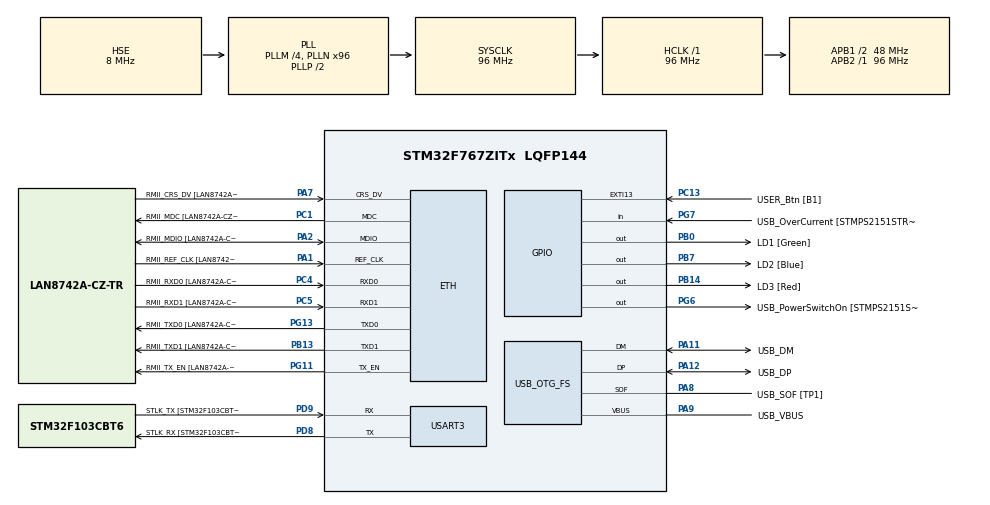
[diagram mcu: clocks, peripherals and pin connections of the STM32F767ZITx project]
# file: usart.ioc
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CORTEX_M7.default_mode_Activation=1
ETH.MediaInterface=HAL_ETH_RMII_MODE
ETH.PHY_Name=LAN8742A_PHY_ADDRESS
ETH.PHY_Value=0
ETH.PhyAddress=0
Mcu.Family=STM32F7
Mcu.Name=STM32F767ZITx
Mcu.Package=LQFP144
NVIC.PriorityGroup=NVIC_PRIORITYGROUP_4
NVIC.USART3_IRQn=true\:0\:0\:false\:false\:true\:true\:true\:true
PA1.GPIO_Label=RMII_REF_CLK [LAN8742A-CZ-TR_REFCLK0]
PA1.Mode=RMII
PA1.Signal=ETH_REF_CLK
PA10.GPIO_Label=USB_ID
PA10.Signal=USB_OTG_FS_ID
PA11.GPIO_Label=USB_DM
PA11.Mode=Device_Only
PA11.Signal=USB_OTG_FS_DM
PA12.GPIO_Label=USB_DP
PA12.Mode=Device_Only
PA12.Signal=USB_OTG_FS_DP
PA13.GPIO_Label=TMS
PA13.Mode=Serial_Wire
PA13.Signal=SYS_JTMS-SWDIO
PA14.GPIO_Label=TCK
PA14.Mode=Serial_Wire
PA14.Signal=SYS_JTCK-SWCLK
PA2.GPIO_Label=RMII_MDIO [LAN8742A-CZ-TR_MDIO]
PA2.Mode=RMII
PA2.Signal=ETH_MDIO
PA7.GPIO_Label=RMII_CRS_DV [LAN8742A-CZ-TR_CRS_DV]
PA7.Mode=RMII
PA7.Signal=ETH_CRS_DV
PA8.GPIO_Label=USB_SOF [TP1]
PA8.Mode=Activate_SOF_FS
PA8.Signal=USB_OTG_FS_SOF
PA9.GPIO_Label=USB_VBUS
PA9.Mode=Activate_VBUS
PA9.Signal=USB_OTG_FS_VBUS
PB0.GPIO_Label=LD1 [Green]
PB0.Signal=GPIO_Output
PB13.GPIO_Label=RMII_TXD1 [LAN8742A-CZ-TR_TXD1]
PB13.Mode=RMII
PB13.Signal=ETH_TXD1
PB14.GPIO_Label=LD3 [Red]
PB14.Signal=GPIO_Output
PB3.GPIO_Label=SWO
PB3.Signal=SYS_JTDO-SWO
PB7.GPIO_Label=LD2 [Blue]
PB7.Signal=GPIO_Output
PC1.GPIO_Label=RMII_MDC [LAN8742A-CZ-TR_MDC]
PC1.Mode=RMII
PC1.Signal=ETH_MDC
PC13.GPIO_Label=USER_Btn [B1]
PC13.Signal=GPXTI13
PC14/OSC32_IN.Mode=LSE-External-Oscillator
PC14/OSC32_IN.Signal=RCC_OSC32_IN
PC15/OSC32_OUT.Mode=LSE-External-Oscillator
PC15/OSC32_OUT.Signal=RCC_OSC32_OUT
PC4.GPIO_Label=RMII_RXD0 [LAN8742A-CZ-TR_RXD0]
PC4.Mode=RMII
PC4.Signal=ETH_RXD0
PC5.GPIO_Label=RMII_RXD1 [LAN8742A-CZ-TR_RXD1]
PC5.Mode=RMII
PC5.Signal=ETH_RXD1
PD8.GPIO_Label=STLK_RX [STM32F103CBT6_PA3]
PD8.Mode=Asynchronous
PD8.Signal=USART3_TX
PD9.GPIO_Label=STLK_TX [STM32F103CBT6_PA2]
PD9.Mode=Asynchronous
PD9.Signal=USART3_RX
PG11.GPIO_Label=RMII_TX_EN [LAN8742A-CZ-TR_TXEN]
PG11.Mode=RMII
PG11.Signal=ETH_TX_EN
PG13.GPIO_Label=RMII_TXD0 [LAN8742A-CZ-TR_TXD0]
PG13.Mode=RMII
PG13.Signal=ETH_TXD0
PG6.GPIO_Label=USB_PowerSwitchOn [STMPS2151STR_EN]
PG6.Signal=GPIO_Output
PG7.GPIO_Label=USB_OverCurrent [STMPS2151STR_FAULT]
PG7.Signal=GPIO_Input
PH0/OSC_IN.GPIO_Label=MCO [STM32F103CBT6_PA8]
PH0/OSC_IN.Mode=HSE-External-Clock-Source
PH0/OSC_IN.Signal=RCC_OSC_IN
PH1/OSC_OUT.Mode=HSE-External-Clock-Source
PH1/OSC_OUT.Signal=RCC_OSC_OUT
ProjectManager.HeapSize=0x200
ProjectManager.StackSize=0x400
ProjectManager.TargetToolchain=CMake
RCC.48MHZClocksFreq_Value=24000000
RCC.AHBFreq_Value=96000000
RCC.APB1CLKDivider=RCC_HCLK_DIV2
RCC.APB1Freq_Value=48000000
RCC.APB1TimFreq_Value=96000000
RCC.APB2Freq_Value=96000000
RCC.APB2TimFreq_Value=96000000
RCC.CortexFreq_Value=96000000
RCC.HCLKFreq_Value=96000000
RCC.HSE_VALUE=8000000
RCC.HSI_VALUE=16000000
RCC.PLLM=4
RCC.PLLMUL=RCC_PLL_MUL9
RCC.PLLN=96
RCC.PLLQ=4
RCC.PRESCALERUSB=RCC_USBCLKSOURCE_PLL_DIV1_5
RCC.SYSCLKFreq_VALUE=96000000
RCC.SYSCLKSource=RCC_SYSCLKSOURCE_PLLCLK
RCC.SYSCLKSourceVirtual=RCC_SYSCLKSOURCE_PLLCLK
RCC.USBFreq_Value=48000000
RCC.VCOOutputFreq_Value=192000000
USART3.VirtualMode-Asynchronous=VM_ASYNC
USB_OTG_FS.VirtualMode=Device_Only
board=NUCLEO-F767ZI

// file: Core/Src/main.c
/* USER CODE BEGIN Header */
/**
  ******************************************************************************
  * @file           : main.c
  * @brief          : Main program body
  ******************************************************************************
  * @attention
  *
  * Copyright (c) 2026 STMicroelectronics.
  * All rights reserved.
  *
  * This software is licensed under terms that can be found in the LICENSE file
  * in the root directory of this software component.
  * If no LICENSE file comes with this software, it is provided AS-IS.
  *
  ******************************************************************************
  */
/* USER CODE END Header */
#include "main.h"
#include "eth.h"
#include "stm32f7xx_hal_gpio.h"
#include "stm32f7xx_hal_uart.h"
#include "usart.h"
#include "usb_otg.h"
#include "gpio.h"

/* USER CODE BEGIN Includes */
#include "string.h"
#include <stdint.h>
#include <stdio.h>
#include <sys/_types.h>
/* USER CODE END Includes */

/* USER CODE BEGIN PD */
#define RX_BUFFER_SIZE 8
/* USER CODE END PD */

/* USER CODE BEGIN PV */
char rx_data[RX_BUFFER_SIZE];
/* USER CODE END PV */

void SystemClock_Config(void);
static void MPU_Config(void);

/* USER CODE BEGIN 0 */
void HAL_UART_RxCpltCallback(UART_HandleTypeDef *huart)
{
  if(huart->Instance == USART3)
  {
    uint16_t number, value;
    rx_data[RX_BUFFER_SIZE - 1] = '\0';

    if(sscanf(rx_data, "LED%hu=%hu;", &number, &value) == 2)
    {
      if(number >= 1 && number <= 4)
      {
        GPIO_PinState pin_state = GPIO_PIN_RESET;
        if(value == 0)
        {
          pin_state = GPIO_PIN_RESET;
        }
        else if(value == 1)
        {
          pin_state = GPIO_PIN_SET;
        }
        else
        {
          return;
        }
        switch (number)
        {
          case 1:
            HAL_GPIO_WritePin(GPIOB, LD1_Pin, pin_state);
            break;
          case 2:
            HAL_GPIO_WritePin(GPIOB, LD2_Pin, pin_state);
            break;
          case 3:
            HAL_GPIO_WritePin(GPIOB, LD3_Pin, pin_state);
            break;
        }
      }
    }

    // Restart the UART reception in interrupt mode
    HAL_UART_Receive_IT(&huart3, (uint8_t *)rx_data, RX_BUFFER_SIZE-1);
  }
}
/* USER CODE END 0 */

int main(void)
{

  /* MPU Configuration--------------------------------------------------------*/
  MPU_Config();

  /* MCU Configuration--------------------------------------------------------*/

  /* Reset of all peripherals, Initializes the Flash interface and the Systick. */
  HAL_Init();

  /* Configure the system clock */
  SystemClock_Config();

  /* Initialize all configured peripherals */
  MX_GPIO_Init();
  MX_ETH_Init();
  MX_USART3_UART_Init();
  MX_USB_OTG_FS_PCD_Init();
  /* USER CODE BEGIN 2 */
  HAL_UART_Receive_IT(&huart3, (uint8_t *)rx_data, RX_BUFFER_SIZE-1);
  /* USER CODE END 2 */

  /* Infinite loop */
  while (1)
  {

  }
}

void SystemClock_Config(void)
{
  RCC_OscInitTypeDef RCC_OscInitStruct = {0};
  RCC_ClkInitTypeDef RCC_ClkInitStruct = {0};

  /** Configure LSE Drive Capability
  */
  HAL_PWR_EnableBkUpAccess();

  /** Configure the main internal regulator output voltage
  */
  __HAL_RCC_PWR_CLK_ENABLE();
  __HAL_PWR_VOLTAGESCALING_CONFIG(PWR_REGULATOR_VOLTAGE_SCALE3);

  /** Initializes the RCC Oscillators according to the specified parameters
  * in the RCC_OscInitTypeDef structure.
  */
  RCC_OscInitStruct.OscillatorType = RCC_OSCILLATORTYPE_HSE;
  RCC_OscInitStruct.HSEState = RCC_HSE_BYPASS;
  RCC_OscInitStruct.PLL.PLLState = RCC_PLL_ON;
  RCC_OscInitStruct.PLL.PLLSource = RCC_PLLSOURCE_HSE;
  RCC_OscInitStruct.PLL.PLLM = 4;
  RCC_OscInitStruct.PLL.PLLN = 96;
  RCC_OscInitStruct.PLL.PLLP = RCC_PLLP_DIV2;
  RCC_OscInitStruct.PLL.PLLQ = 4;
  RCC_OscInitStruct.PLL.PLLR = 2;
  if (HAL_RCC_OscConfig(&RCC_OscInitStruct) != HAL_OK)
  {
    Error_Handler();
  }

  /** Activate the Over-Drive mode
  */
  if (HAL_PWREx_EnableOverDrive() != HAL_OK)
  {
    Error_Handler();
  }

  /** Initializes the CPU, AHB and APB buses clocks
  */
  RCC_ClkInitStruct.ClockType = RCC_CLOCKTYPE_HCLK|RCC_CLOCKTYPE_SYSCLK
                              |RCC_CLOCKTYPE_PCLK1|RCC_CLOCKTYPE_PCLK2;
  RCC_ClkInitStruct.SYSCLKSource = RCC_SYSCLKSOURCE_PLLCLK;
  RCC_ClkInitStruct.AHBCLKDivider = RCC_SYSCLK_DIV1;
  RCC_ClkInitStruct.APB1CLKDivider = RCC_HCLK_DIV2;
  RCC_ClkInitStruct.APB2CLKDivider = RCC_HCLK_DIV1;

  if (HAL_RCC_ClockConfig(&RCC_ClkInitStruct, FLASH_LATENCY_3) != HAL_OK)
  {
    Error_Handler();
  }
}

 /* MPU Configuration */

void MPU_Config(void)
{
  MPU_Region_InitTypeDef MPU_InitStruct = {0};

  /* Disables the MPU */
  HAL_MPU_Disable();

  /** Initializes and configures the Region and the memory to be protected
  */
  MPU_InitStruct.Enable = MPU_REGION_ENABLE;
  MPU_InitStruct.Number = MPU_REGION_NUMBER0;
  MPU_InitStruct.BaseAddress = 0x0;
  MPU_InitStruct.Size = MPU_REGION_SIZE_4GB;
  MPU_InitStruct.SubRegionDisable = 0x87;
  MPU_InitStruct.TypeExtField = MPU_TEX_LEVEL0;
  MPU_InitStruct.AccessPermission = MPU_REGION_NO_ACCESS;
  MPU_InitStruct.DisableExec = MPU_INSTRUCTION_ACCESS_DISABLE;
  MPU_InitStruct.IsShareable = MPU_ACCESS_SHAREABLE;
  MPU_InitStruct.IsCacheable = MPU_ACCESS_NOT_CACHEABLE;
  MPU_InitStruct.IsBufferable = MPU_ACCESS_NOT_BUFFERABLE;

  HAL_MPU_ConfigRegion(&MPU_InitStruct);
  /* Enables the MPU */
  HAL_MPU_Enable(MPU_PRIVILEGED_DEFAULT);

}

void Error_Handler(void)
{
  __disable_irq();
  while (1)
  {
  }
}
